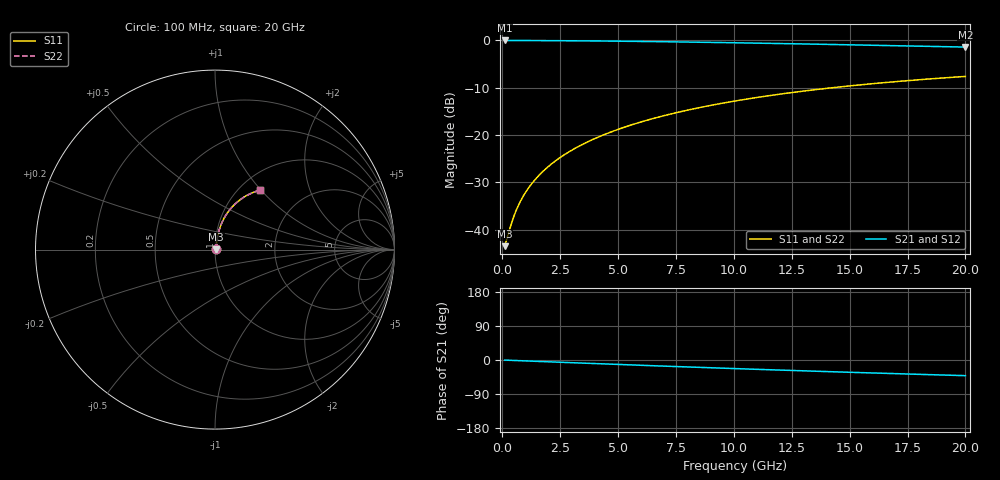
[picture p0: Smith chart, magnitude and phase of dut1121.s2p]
! Touchstone file exported from HFSS 2024.1.0
!  File:  C:/UserFiles/LocalFiles/RDL_TSV_Batchsim/temp_RDL_top_1121_1780047069.aedt
!  Generated:  05:33:16 PM May 29, 2026
!  Design:  RDL_top
!  Project:  temp_RDL_top_1121_1780047069
!  Setup:  Setup1
!  Solution:  Sweep
! Variables:
!  dtsv = 10.80580581um
!  hbump = 3um
!  htsv = 80.92um
!  ldown = 100um
!  lrdl = 571.78um
!  p = 40
!  p1 = 40.18um
!  rhole = 1um
!  t = 450um
!  tdown = 3.915915916um
!  trdl = 2.17um
!  wdown = 15.38538539um
!  wrdl = 15.38um
# GHz S MA R 50.000000
! Terminal data exported
! Port[1] = Box2_T1
! Port[2] = Box2_T2
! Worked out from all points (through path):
!   200 points, 100 MHz to 20 GHz, reference 50 ohm
!   highest |S21| = -0.05 dB at 100 MHz (marker M1); lowest = -1.5 dB at 20 GHz (marker M2)
!   group delay of S21, straight-line fit = 5.74 ps
!   lowest |S11| = -43.5 dB at 100 MHz (marker M3), VSWR 1.01, Z = 50.6 + j0.249 ohm
!   |S11| at or under -10 dB: start of sweep to 14.31 GHz
!   |S22| runs from -43.5 to -7.6 dB; largest |S21 - S12| = 2.6e-15
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0.1  0.006706 21.5  0.9938 -0.3  0.9938 -0.3  0.006706 21.5
! Gamma 0 0 0 0
! Port Impedance 50 0 50 0
0.4  0.01176 55.6  0.9934 -1.0  0.9934 -1.0  0.01176 55.6
0.5  0.01385 60.4  0.9932 -1.2  0.9932 -1.2  0.01385 60.4
0.6  0.01599 63.8  0.9929 -1.5  0.9929 -1.5  0.01599 63.8
0.7  0.01815 66.4  0.9927 -1.7  0.9927 -1.7  0.01815 66.4
0.9  0.0225 70.0  0.9923 -2.2  0.9923 -2.2  0.0225 70.0
1.2  0.02904 73.3  0.9916 -2.9  0.9916 -2.9  0.02904 73.3
1.4  0.03342 74.7  0.9911 -3.4  0.9911 -3.4  0.03342 74.7
1.7  0.04003 76.3  0.9904 -4.1  0.9904 -4.1  0.04003 76.3
2.2  0.05113 77.7  0.989 -5.3  0.989 -5.3  0.05113 77.7
2.8  0.06457 78.6  0.9871 -6.7  0.9871 -6.7  0.06457 78.5
3.5  0.08038 78.8  0.9843 -8.3  0.9843 -8.3  0.08037 78.7
4.2  0.09628 78.5  0.981 -9.9  0.981 -9.9  0.09628 78.5
5  0.1145 77.9  0.9768 -11.7  0.9768 -11.7  0.1145 77.8
5.9  0.1351 76.9  0.9713 -13.8  0.9713 -13.8  0.1351 76.8
6.8  0.1556 75.7  0.9653 -15.8  0.9653 -15.8  0.1556 75.6
8.4  0.1918 73.2  0.9533 -19.2  0.9533 -19.2  0.1918 73.2
10.1  0.2294 70.3  0.9392 -22.8  0.9392 -22.8  0.2294 70.3
11.7  0.2636 67.5  0.925 -26.1  0.925 -26.1  0.2635 67.4
13.4  0.2983 64.4  0.9093 -29.4  0.9093 -29.4  0.2983 64.4
16.7  0.3603 58.5  0.8777 -35.6  0.8777 -35.6  0.3602 58.5
20  0.4147 52.9  0.846 -41.3  0.846 -41.3  0.4145 52.9
